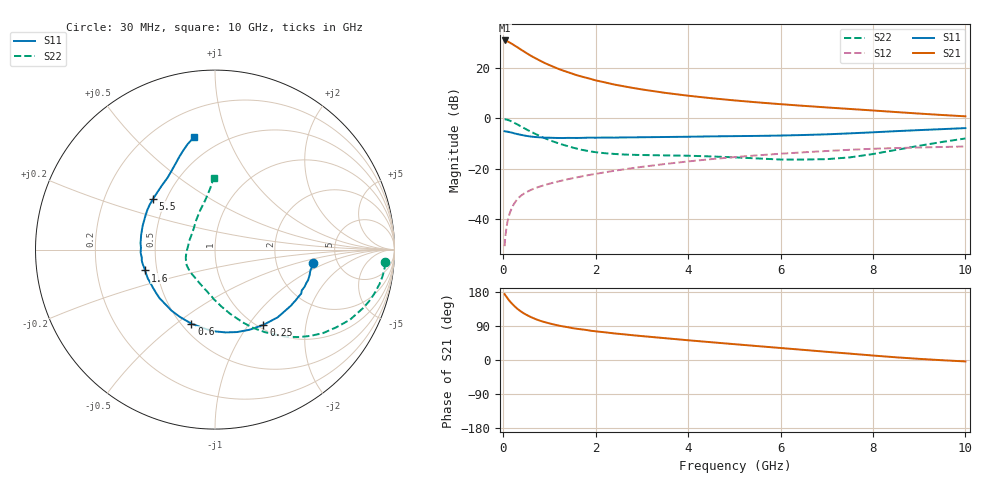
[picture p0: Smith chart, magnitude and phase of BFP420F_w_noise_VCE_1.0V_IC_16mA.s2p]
! Infineon Technologies  Discrete & RF Semiconductors
! BFP420F
! VCE =  1.0 V,  IC =  16 mA
! Common Emitter S-Parameters:  Sep 2011
# GHz  S  MA  R  50
!  f  S11  S21  S12  S22
! GHz  MAG  ANG  MAG  ANG  MAG  ANG  MAG  ANG
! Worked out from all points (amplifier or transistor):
!   54 points, 30 MHz to 10 GHz, reference 50 ohm
!   highest |S21| = 30.9 dB at 30 MHz (marker M1)
!   |S21| within 3 dB of that: start of sweep to 332 MHz
!   unconditionally stable (mu >= 1): 1.689 GHz to end of sweep
!   at 120 MHz: K = 0.22, MSG = 34.6 dB, |S12| = -39.0 dB
!   at 1.3 GHz: K = 0.89, MSG = 21.7 dB, |S12| = -24.6 dB
!   at 10 GHz: K = 1.24, MAG = 3.1 dB, |S12| = -11.2 dB
!   lowest NFmin = 1.40 dB at 450 MHz
!   S11 on the Smith chart (normalised r, x): 30 MHz: 3.30, -0.70; 250 MHz: 1.06, -1.18; 600 MHz: 0.56, -0.57; 1.6 GHz: 0.43, -0.12; 5.5 GHz: 0.42, +0.30; 10 GHz: 0.36, +0.76
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0.03  0.5524 -7.7  34.88 173.9  0.0029 87.6  0.9526 -4.3
0.05  0.5442 -11.9  34.34 170.0  0.0048 83.6  0.9485 -7.4
0.07  0.5457 -18.2  34.16 167.0  0.0067 84.2  0.9408 -10.4
0.12  0.5333 -30.0  32.56 158.3  0.0112 79.1  0.9109 -17.5
0.15  0.526 -36.4  31.32 153.9  0.0138 76.4  0.8882 -21.4
0.2  0.5142 -47.2  29.44 147.4  0.0178 72.8  0.8472 -27.5
0.25  0.4986 -57.2  27.5 141.2  0.0211 70.1  0.8014 -32.8
0.3  0.4864 -66.6  25.82 135.8  0.0245 67.2  0.76 -37.8
0.4  0.4652 -82.7  22.46 126.7  0.0298 63.0  0.6762 -46.1
0.5  0.4462 -96.1  19.67 119.4  0.0341 60.0  0.6019 -52.9
0.6  0.433 -107.7  17.31 113.2  0.0379 58.1  0.538 -58.8
0.8  0.4175 -125.5  13.81 103.5  0.0444 56.2  0.4407 -68.4
1  0.4109 -138.5  11.32 96.6  0.0503 55.6  0.3693 -76.5
1.2  0.4056 -148.7  9.48 90.8  0.056 55.3  0.3173 -83.9
1.6  0.4063 -163.4  7.093 82.3  0.0673 55.2  0.249 -97.6
1.7  0.4077 -166.2  6.691 80.8  0.0702 55.2  0.2363 -100.9
2.4  0.4126 178.5  4.666 70.2  0.0907 54.2  0.1959 -122.1
3.5  0.4243 161.9  3.191 57.6  0.1237 50.8  0.1832 -143.3
5.5  0.4462 140.5  2.063 36.7  0.1836 39.6  0.1594 -175.3
7  0.4795 123.5  1.637 21.6  0.2239 29.6  0.1543 147.9
8.5  0.5543 111.0  1.326 7.1  0.2562 18.6  0.2355 110.3
10  0.6368 100.6  1.091 -3.8  0.2751 9.7  0.3968 91.2
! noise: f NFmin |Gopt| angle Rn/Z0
0.45  1.4  0.11  177  0.19
0.9  1.41  0.12  171  0.13
1.9  1.53  0.22  -175  0.14
2.4  1.59  0.22  -173  0.12
3.5  1.84  0.26  -161  0.16
